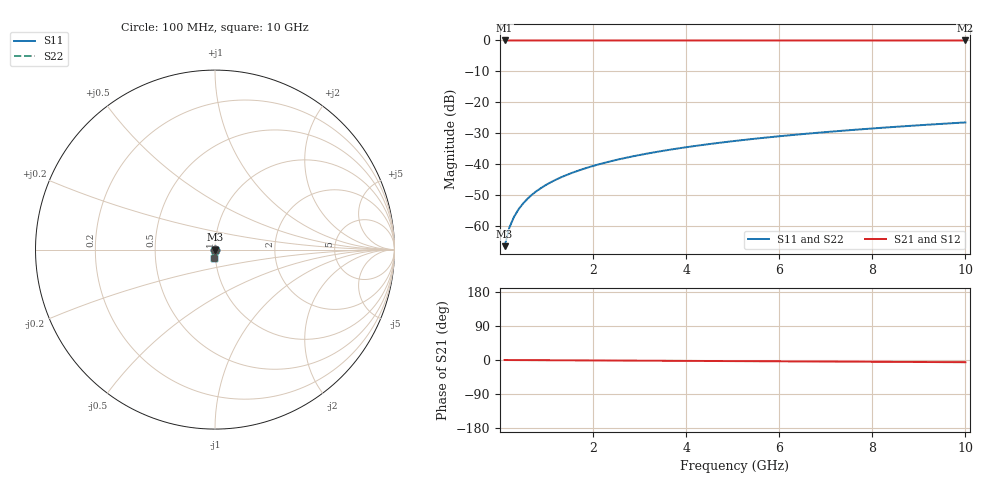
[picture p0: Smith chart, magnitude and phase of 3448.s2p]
# Hz S RI R 50.00
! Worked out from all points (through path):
!   100 points, 100 MHz to 10 GHz, reference 50 ohm
!   highest |S21| = 0.00 dB at 100 MHz (marker M1); lowest = 0.0 dB at 10 GHz (marker M2)
!   lowest |S11| = -66.4 dB at 100 MHz (marker M3), VSWR 1.00, Z = 50 - j0.0472 ohm
!   |S11| at or under -10 dB: start of sweep to end of sweep
!   |S22| runs from -66.4 to -26.4 dB; largest |S21 - S12| = 0
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1e8  9.02e-05 -0.000472  0.9999 -0.00101  0.9999 -0.00101  9.02e-05 -0.000472
2e8  8.87e-05 -0.000944  0.9999 -0.00203  0.9999 -0.00203  8.87e-05 -0.000944
3e8  8.6e-05 -0.00142  0.9999 -0.00304  0.9999 -0.00304  8.6e-05 -0.00142
4e8  8.24e-05 -0.00189  0.9999 -0.00405  0.9999 -0.00405  8.24e-05 -0.00189
5e8  7.77e-05 -0.00236  0.9999 -0.00507  0.9999 -0.00507  7.77e-05 -0.00236
6e8  7.2e-05 -0.00283  0.9999 -0.00608  0.9999 -0.00608  7.2e-05 -0.00283
7e8  6.53e-05 -0.0033  0.9999 -0.00709  0.9999 -0.00709  6.53e-05 -0.0033
8e8  5.77e-05 -0.00378  0.9999 -0.00811  0.9999 -0.00811  5.77e-05 -0.00378
9e8  4.91e-05 -0.00425  0.9998 -0.00912  0.9998 -0.00912  4.91e-05 -0.00425
1.1e9  2.89e-05 -0.00519  0.9998 -0.0111  0.9998 -0.0111  2.89e-05 -0.00519
1.4e9  -8.55e-06 -0.00661  0.9998 -0.0142  0.9998 -0.0142  -8.55e-06 -0.00661
1.8e9  -7.21e-05 -0.0085  0.9997 -0.0183  0.9997 -0.0183  -7.21e-05 -0.0085
2.1e9  -0.00013 -0.00992  0.9996 -0.0213  0.9996 -0.0213  -0.00013 -0.00992
2.5e9  -0.000221 -0.0118  0.9995 -0.0254  0.9995 -0.0254  -0.000221 -0.0118
2.9e9  -0.000327 -0.0137  0.9994 -0.0294  0.9994 -0.0294  -0.000327 -0.0137
3.4e9  -0.000481 -0.0161  0.9992 -0.0345  0.9992 -0.0345  -0.000481 -0.0161
4.2e9  -0.00078 -0.0199  0.9988 -0.0427  0.9988 -0.0427  -0.00078 -0.0199
5.1e9  -0.00119 -0.0242  0.9982 -0.0518  0.9982 -0.0518  -0.00119 -0.0242
5.9e9  -0.00162 -0.028  0.9977 -0.06  0.9977 -0.06  -0.00162 -0.028
6.7e9  -0.00212 -0.0317  0.997 -0.0682  0.997 -0.0682  -0.00212 -0.0317
8.4e9  -0.00338 -0.0398  0.9954 -0.0856  0.9954 -0.0856  -0.00338 -0.0398
1e10  -0.00483 -0.0474  0.9935 -0.102  0.9935 -0.102  -0.00483 -0.0474
